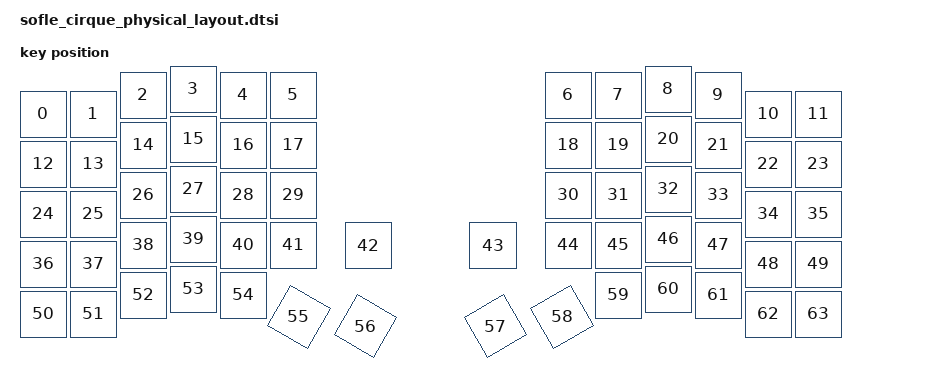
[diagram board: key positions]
#include <physical_layouts.dtsi>

/ {
    physical_layout_sofle_cirque: physical_layout_sofle_cirque {
        compatible = "zmk,physical-layout";
        transform = <&default_transform>;
        display-name = "sofle-cirque";
        keys  //                     w   h    x    y     rot    rx    ry
            = <&key_physical_attrs 100 100    0   50       0     0    50>
            , <&key_physical_attrs 100 100  100   50       0   100    50>
            , <&key_physical_attrs 100 100  200   12       0   200    12>
            , <&key_physical_attrs 100 100  300    0       0   300     0>
            , <&key_physical_attrs 100 100  400   12       0   400    12>
            , <&key_physical_attrs 100 100  500   12       0   500    12>
            , <&key_physical_attrs 100 100 1050   12       0  1050    12>
            , <&key_physical_attrs 100 100 1150   12       0  1150    12>
            , <&key_physical_attrs 100 100 1250    0       0  1250     0>
            , <&key_physical_attrs 100 100 1350   12       0  1350    12>
            , <&key_physical_attrs 100 100 1450   50       0  1450    50>
            , <&key_physical_attrs 100 100 1550   50       0  1550    50>
            , <&key_physical_attrs 100 100    0  150       0     0   150>
            , <&key_physical_attrs 100 100  100  150       0   100   150>
            , <&key_physical_attrs 100 100  200  112       0   200   112>
            , <&key_physical_attrs 100 100  300  100       0   300   100>
            , <&key_physical_attrs 100 100  400  112       0   400   112>
            , <&key_physical_attrs 100 100  500  112       0   500   112>
            , <&key_physical_attrs 100 100 1050  112       0  1050   112>
            , <&key_physical_attrs 100 100 1150  112       0  1150   112>
            , <&key_physical_attrs 100 100 1250  100       0  1250   100>
            , <&key_physical_attrs 100 100 1350  112       0  1350   112>
            , <&key_physical_attrs 100 100 1450  150       0  1450   150>
            , <&key_physical_attrs 100 100 1550  150       0  1550   150>
            , <&key_physical_attrs 100 100    0  250       0     0   250>
            , <&key_physical_attrs 100 100  100  250       0   100   250>
            , <&key_physical_attrs 100 100  200  212       0   200   212>
            , <&key_physical_attrs 100 100  300  200       0   300   200>
            , <&key_physical_attrs 100 100  400  212       0   400   212>
            , <&key_physical_attrs 100 100  500  212       0   500   212>
            , <&key_physical_attrs 100 100 1050  212       0  1050   212>
            , <&key_physical_attrs 100 100 1150  212       0  1150   212>
            , <&key_physical_attrs 100 100 1250  200       0  1250   200>
            , <&key_physical_attrs 100 100 1350  212       0  1350   212>
            , <&key_physical_attrs 100 100 1450  250       0  1450   250>
            , <&key_physical_attrs 100 100 1550  250       0  1550   250>
            , <&key_physical_attrs 100 100    0  350       0     0   350>
            , <&key_physical_attrs 100 100  100  350       0   100   350>
            , <&key_physical_attrs 100 100  200  312       0   200   312>
            , <&key_physical_attrs 100 100  300  300       0   300   300>
            , <&key_physical_attrs 100 100  400  312       0   400   312>
            , <&key_physical_attrs 100 100  500  312       0   500   312>
            , <&key_physical_attrs 100 100  650  313       0   650   313>
            , <&key_physical_attrs 100 100  900  313       0   900   313>
            , <&key_physical_attrs 100 100 1050  312       0  1050   312>
            , <&key_physical_attrs 100 100 1150  312       0  1150   312>
            , <&key_physical_attrs 100 100 1250  300       0  1250   300>
            , <&key_physical_attrs 100 100 1350  312       0  1350   312>
            , <&key_physical_attrs 100 100 1450  350       0  1450   350>
            , <&key_physical_attrs 100 100 1550  350       0  1550   350>
            , <&key_physical_attrs 100 100    0  450       0     0   450>
            , <&key_physical_attrs 100 100  100  450       0   100   450>
            , <&key_physical_attrs 100 100  200  412       0   200   412>
            , <&key_physical_attrs 100 100  300  400       0   300   400>
            , <&key_physical_attrs 100 100  400  412       0   400   412>
            , <&key_physical_attrs 100 100  550  412    3000   500   412>
            , <&key_physical_attrs 100 100  675  362    3000   500   412>
            , <&key_physical_attrs 100 100  875  362 (-3000)  1150   412>
            , <&key_physical_attrs 100 100 1000  412 (-3000)  1150   412>
            , <&key_physical_attrs 100 100 1150  412       0  1150   412>
            , <&key_physical_attrs 100 100 1250  400       0  1250   400>
            , <&key_physical_attrs 100 100 1350  412       0  1350   412>
            , <&key_physical_attrs 100 100 1450  450       0  1450   450>
            , <&key_physical_attrs 100 100 1550  450       0  1550   450>
            ;
    };
};
